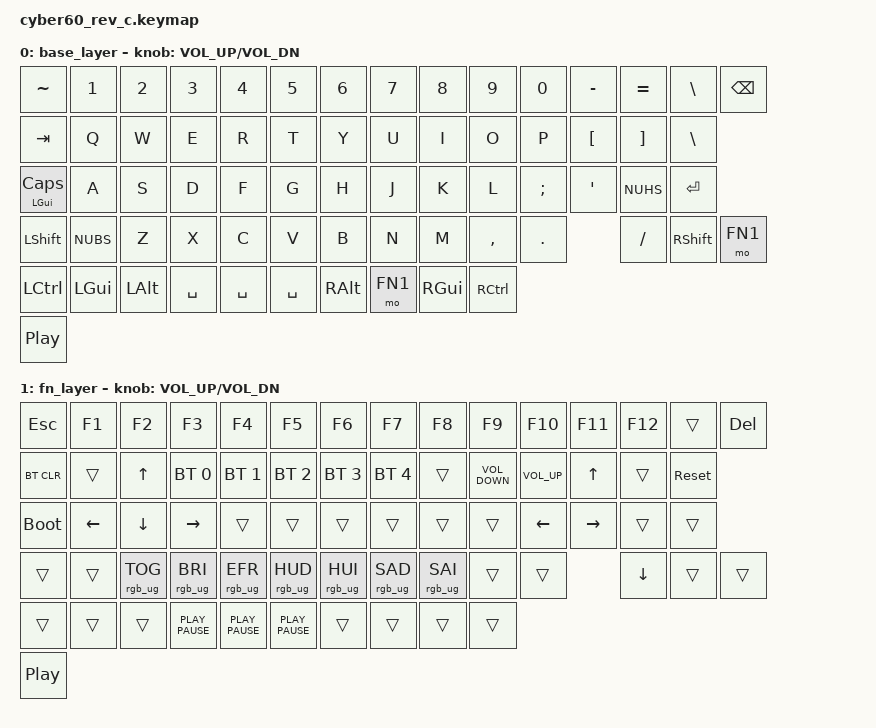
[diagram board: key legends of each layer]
#include <behaviors.dtsi>
#include <dt-bindings/zmk/bt.h>
#include <dt-bindings/zmk/keys.h>
#include <dt-bindings/zmk/rgb.h>

#define FN1 1

/ {
    keymap {
        compatible = "zmk,keymap";

        base_layer {
            // Base layer
            // ------------------------------------------------------------------------------------------
            // | TILDE |  1  |  2  |  3  |  4  |  5  |  6  |  7  |  8  |  9  |  0  |  -  |  =  |   BKSP   |
            // |  TAB |  Q  |  W  |  E  |  R  |  T  |  Y  |  U  |  I  |  O  |  P  |  [  |  ]  |   "|"   |
            // | CAPS  |  A  |  S  |  D  |  F  |  G  |  H  |  J  |  K  |  L  |  ;  |  '  |NUHS| ENTER   |
            // | SHIFT |NUBS| Z |  X  |  C  |  V  |  B  |  N  |  M  |  ,  |  .  |  /  |    Shift   | FN |
            // |  LCTL  |  LWIN  |  LALT  | SPACE  | SPACE |    SPACE   |  RALT | FN  |   RWIN  | RCTRL |
            // | Rotary | (<-- Rotary switch) ----------------------------------------------------------- 

            bindings = <
&kp TILDE          &kp N1    &kp N2    &kp N3     &kp N4     &kp N5     &kp N6    &kp N7   &kp N8    &kp N9     &kp N0    &kp MINUS  &kp EQUAL  &kp BSLH   &kp BSPC
&kp TAB            &kp Q     &kp W     &kp E      &kp R      &kp T      &kp Y     &kp U    &kp I     &kp O      &kp P     &kp LBKT   &kp RBKT   &kp BSLH
&mt LGUI CAPSLOCK  &kp A     &kp S     &kp D      &kp F      &kp G      &kp H     &kp J    &kp K     &kp L      &kp SEMI  &kp SQT    &kp NUHS   &kp RET
&kp LSHFT          &kp NUBS  &kp Z     &kp X      &kp C      &kp V      &kp B     &kp N    &kp M     &kp COMMA  &kp DOT              &kp FSLH   &kp RSHFT  &mo FN1
&kp LCTRL          &kp LGUI  &kp LALT  &kp SPACE  &kp SPACE  &kp SPACE  &kp RALT  &mo FN1  &kp RGUI  &kp RCTRL
&kp C_PP
            >;

            sensor-bindings = <&inc_dec_kp C_VOL_UP C_VOL_DN>;
        };

        fn_layer {
            // Function layer
            // ------------------------------------------------------------------------------------------
            // | ESC | F1 |  F2 |  F3 |  F4 |  F5 |  F6 |  F7 |  F8 |  F9 | F10 | F11 | F12 |TRNS | DEL |
            // |BT_CLR |TRNS | UP  | BT0 | BT1 | BT2 | BT3 | BT4 | TRNS | TRNS | TRNS | TRNS | TRNS | RST|
            // | BOOTL  |LEFT |DOWN |RIGHT|TRNS |TRNS |TRNS | TRNS| TRNS |TRNS| TRNS |TRNS | TRNS | TRNS  |
            // | TRNS |TRNS|TRNS|TRNS|TRNS | TRNS| TRNS | TRNS |  TRNS| TRNS | TRNS| TRNS |   TRNS   |TRNS|
            // |  TRNS | TRNS | TRNS |      TRNS      | TRNS |     TRNS     |  TRNS |  TRNS | TRNS | TRNS |
            // | Rotary | (<-- Rotary switch) ----------------------------------------------------------- 

            bindings = <
&kp ESC      &kp F1    &kp F2           &kp F3            &kp F4            &kp F5            &kp F6           &kp F7           &kp F8           &kp F9             &kp F10          &kp F11       &kp F12   &trans      &kp DEL
&bt BT_CLR   &trans    &kp UP           &bt BT_SEL 0      &bt BT_SEL 1      &bt BT_SEL 2      &bt BT_SEL 3     &bt BT_SEL 4     &trans           &kp C_VOLUME_DOWN  &kp C_VOLUME_UP  &kp UP_ARROW  &trans    &sys_reset
&bootloader  &kp LEFT  &kp DOWN         &kp RIGHT         &trans            &trans            &trans           &trans           &trans           &trans             &kp LEFT         &kp RIGHT     &trans    &trans
&trans       &trans    &rgb_ug RGB_TOG  &rgb_ug RGB_BRI   &rgb_ug RGB_EFR   &rgb_ug RGB_HUD   &rgb_ug RGB_HUI  &rgb_ug RGB_SAD  &rgb_ug RGB_SAI  &trans             &trans                         &kp DOWN  &trans      &trans
&trans       &trans    &trans           &kp K_PLAY_PAUSE  &kp K_PLAY_PAUSE  &kp K_PLAY_PAUSE  &trans           &trans           &trans           &trans
&kp C_PP
            >;

            sensor-bindings = <&inc_dec_kp C_VOL_UP C_VOL_DN>;
        };
    };
};
